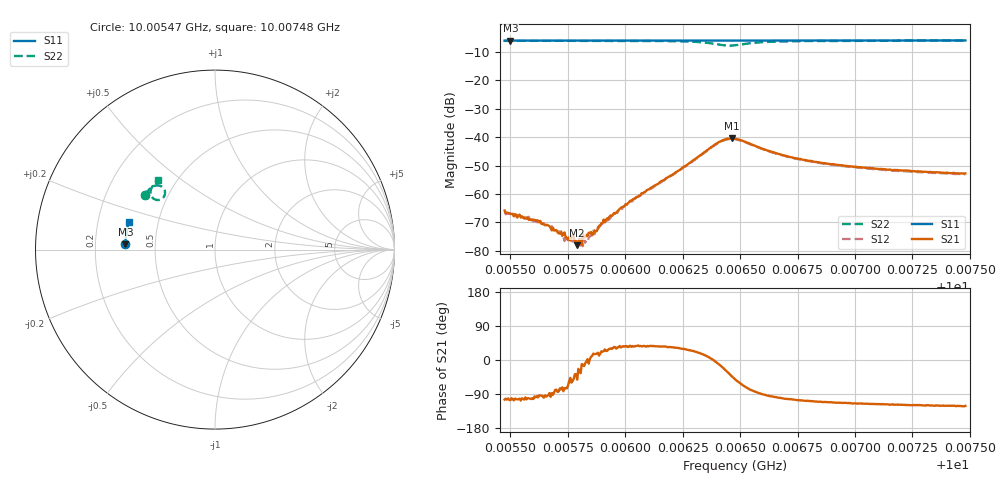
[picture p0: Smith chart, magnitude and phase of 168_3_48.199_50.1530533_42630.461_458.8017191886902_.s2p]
#  HZ  S  RI  R  50.00
! Rohde & Schwarz Vector Network Analyzer
! Rohde-Schwarz,ZNB20-2Port,1311601062101988,3.16
! Created: UTC 3/20/2024, 11:43:37 AM
! freq[Hz]  re:S11  im:S11  re:S21  im:S21  re:S12  im:S12  re:S22  im:S22
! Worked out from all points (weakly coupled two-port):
!   401 points, 10.00547 GHz to 10.00748 GHz, reference 50 ohm
!   highest |S21| = -40.46 dB at 10.00646 GHz (marker M1); lowest = -78.1 dB at 10.00579 GHz (marker M2)
!   lowest |S11| = -6.0 dB at 10.0055 GHz (marker M3), VSWR 3.00, Z = 16.7 + j1.34 ohm
!   |S11| at or under -10 dB: nowhere
!   |S22| runs from -7.8 to -6.0 dB; largest |S21 - S12| = 0.00055
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1.0005475e10  -0.4998 0.0286  -0.000128 -0.000495  -7.77e-05 -0.000475  -0.391 0.3061
1.00055e10  -0.4996 0.0301  -0.000124 -0.000427  -8.82e-05 -0.000432  -0.39 0.3074
1.0005575e10  -0.4996 0.0349  -7.44e-05 -0.000375  -8.39e-05 -0.00038  -0.3866 0.312
1.000562e10  -0.4994 0.038  -5.05e-05 -0.000337  1.91e-06 -0.000317  -0.3844 0.3146
1.0005711e10  -0.4992 0.044  2.61e-05 -0.0002  5.36e-05 -0.000214  -0.3801 0.3202
1.0005746e10  -0.4989 0.0461  4.41e-05 -0.000165  6.64e-05 -0.000151  -0.3782 0.3224
1.0005791e10  -0.4987 0.0491  7.65e-05 -9.74e-05  0.000101 -9.64e-05  -0.3758 0.3253
1.0005801e10  -0.4987 0.0497  0.000139 -8.09e-05  0.000144 -7e-05  -0.3755 0.3259
1.0005811e10  -0.4986 0.0505  0.000123 -2.37e-05  0.000142 -5.47e-05  -0.3748 0.3265
1.0005826e10  -0.4986 0.0513  0.000173 -2.47e-05  0.000135 -2.98e-05  -0.374 0.3276
1.0005866e10  -0.4983 0.0539  0.000218 6.06e-05  0.000192 3.6e-05  -0.3716 0.3302
1.0005896e10  -0.4981 0.0558  0.00028 0.000118  0.000275 0.000106  -0.3699 0.3322
1.0005951e10  -0.4979 0.0595  0.000381 0.000262  0.000365 0.000269  -0.3661 0.3359
1.0006026e10  -0.4974 0.0644  0.000613 0.000424  0.000587 0.000473  -0.3605 0.3412
1.0006147e10  -0.4966 0.0721  0.00126 0.000902  0.00118 0.000939  -0.3481 0.35
1.0006403e10  -0.4939 0.0883  0.00788 -0.00119  0.00771 -0.000774  -0.2796 0.3273
1.0006463e10  -0.4931 0.0918  0.00701 -0.00639  0.00717 -0.00587  -0.2966 0.2827
1.0006478e10  -0.493 0.0926  0.00593 -0.00727  0.00617 -0.00679  -0.3082 0.2776
1.0006653e10  -0.492 0.1039  -0.00072 -0.00524  -0.000487 -0.00516  -0.3596 0.3202
1.0006814e10  -0.49 0.114  -0.0012 -0.00359  -0.00102 -0.00353  -0.3532 0.3445
1.000715e10  -0.4854 0.1354  -0.00124 -0.00239  -0.00111 -0.00237  -0.335 0.3706
1.000748e10  -0.4799 0.1558  -0.00119 -0.00197  -0.00108 -0.00194  -0.3176 0.3885
